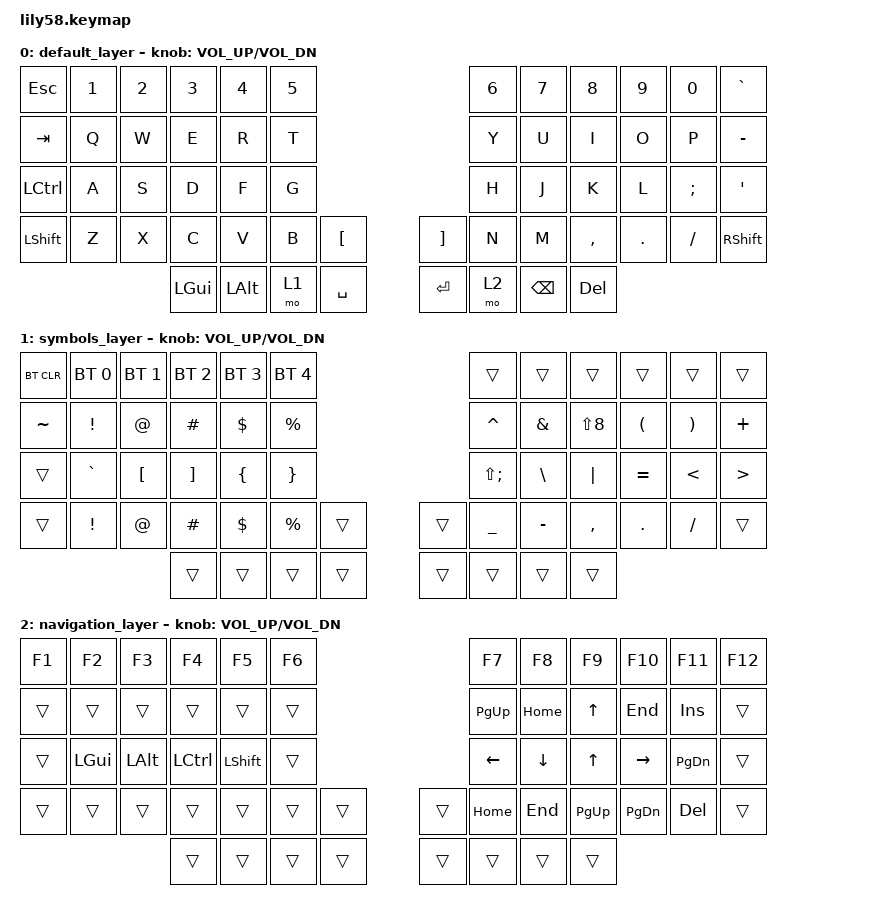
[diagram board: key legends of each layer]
/*
 * Lily58 coding layout. Key legends assume a US keyboard layout on the host.
 * SPDX-License-Identifier: MIT
 */

#include <behaviors.dtsi>
#include <dt-bindings/zmk/keys.h>
#include <dt-bindings/zmk/bt.h>

/ {
    keymap {
        compatible = "zmk,keymap";

        default_layer {
            // Familiar QWERTY, dedicated modifiers, and frequently used punctuation.
            //                                                   ,------- inner keys -------.
            bindings = <
&kp ESC   &kp N1 &kp N2 &kp N3 &kp N4 &kp N5                         &kp N6 &kp N7 &kp N8 &kp N9 &kp N0 &kp GRAVE
&kp TAB   &kp Q  &kp W  &kp E  &kp R  &kp T                          &kp Y  &kp U  &kp I  &kp O  &kp P  &kp MINUS
&kp LCTRL &kp A  &kp S  &kp D  &kp F  &kp G                          &kp H  &kp J  &kp K  &kp L  &kp SEMI &kp SQT
&kp LSHFT &kp Z  &kp X  &kp C  &kp V  &kp B  &kp LBKT  &kp RBKT     &kp N  &kp M  &kp COMMA &kp DOT &kp FSLH &kp RSHFT
                    &kp LGUI &kp LALT &mo 1 &kp SPACE  &kp RET &mo 2 &kp BSPC &kp DEL
            >;
            sensor-bindings = <&inc_dec_kp C_VOL_UP C_VOL_DN>;
        };

        symbols_layer {
            // Hold the left SYM thumb. Bracket pairs and operators are on home row.
            // Bluetooth profiles are on the top left; clear is deliberately in a corner.
            bindings = <
&bt BT_CLR &bt BT_SEL 0 &bt BT_SEL 1 &bt BT_SEL 2 &bt BT_SEL 3 &bt BT_SEL 4    &trans &trans &trans &trans &trans &trans
&kp TILDE  &kp EXCL &kp AT &kp HASH &kp DOLLAR &kp PRCNT                           &kp CARET &kp AMPS &kp LS(N8) &kp LPAR &kp RPAR &kp PLUS
&trans     &kp GRAVE &kp LBKT &kp RBKT &kp LBRC &kp RBRC                         &kp LS(SEMI) &kp BSLH &kp PIPE &kp EQUAL &kp LT &kp GT
&trans     &kp EXCL &kp AT &kp HASH &kp DOLLAR &kp PRCNT &trans &trans             &kp UNDERSCORE &kp MINUS &kp COMMA &kp DOT &kp FSLH &trans
                         &trans &trans &trans &trans &trans &trans &trans &trans
            >;
            sensor-bindings = <&inc_dec_kp C_VOL_UP C_VOL_DN>;
        };

        navigation_layer {
            // Hold the right NAV thumb. Arrows under H/J/K/L; modifiers stay accessible.
            bindings = <
&kp F1    &kp F2 &kp F3 &kp F4 &kp F5 &kp F6                       &kp F7 &kp F8 &kp F9 &kp F10 &kp F11 &kp F12
&trans    &trans &trans &trans &trans &trans                         &kp PG_UP &kp HOME &kp UP &kp END &kp INS &trans
&trans    &kp LGUI &kp LALT &kp LCTRL &kp LSHFT &trans               &kp LEFT &kp DOWN &kp UP &kp RIGHT &kp PG_DN &trans
&trans    &trans &trans &trans &trans &trans &trans &trans           &kp HOME &kp END &kp PG_UP &kp PG_DN &kp DEL &trans
                       &trans &trans &trans &trans &trans &trans &trans &trans
            >;
            sensor-bindings = <&inc_dec_kp C_VOL_UP C_VOL_DN>;
        };
    };
};
